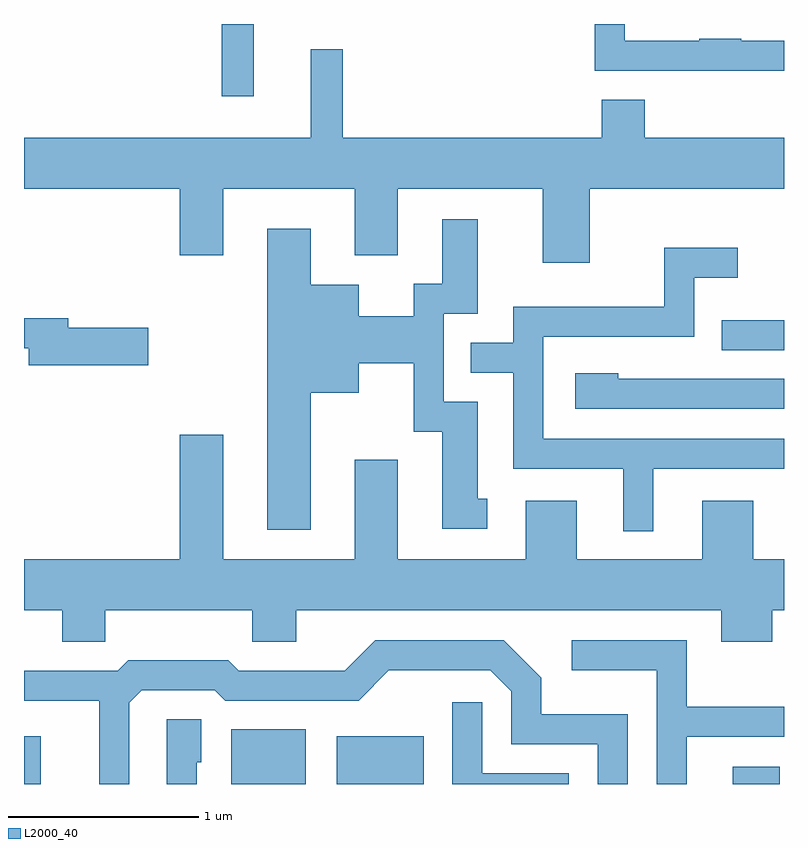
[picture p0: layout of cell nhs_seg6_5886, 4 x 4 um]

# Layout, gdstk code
import gdstk
lib = gdstk.Library(unit=1e-6, precision=1e-09)
def R(c, l, rs):  # rectangles x0, y0, x1, y1
    for r in rs: c.add(gdstk.rectangle(r[:2], r[2:], *l))
def P(c, l, *ps):  # polygons
    for p in ps: c.add(gdstk.Polygon(p, *l))
L2000_40 = (2000, 40)

nhs_seg6_5886 = lib.new_cell('nhs_seg6_5886')
R(nhs_seg6_5886, L2000_40, [(363.611,1620.162,363.699,1620.414), (364.701,1620.162,365.094,1620.449), (365.256,1620.162,365.714,1620.414), (367.341,1620.162,367.589,1620.254), (367.283,1622.446,367.611,1622.604), (364.651,1623.783,364.819,1624.162)])
P(nhs_seg6_5886, L2000_40, [(367.611,1624.074),(367.385,1624.074),(367.385,1624.084),(367.165,1624.084),(367.165,1624.074),(366.774,1624.074),(366.774,1624.162),(366.616,1624.162),(366.616,1623.916),(367.611,1623.916)],
  [(366.589,1623.296),(367.611,1623.296),(367.611,1623.564),(366.879,1623.564),(366.879,1623.764),(366.651,1623.764),(366.651,1623.564),(365.289,1623.564),(365.289,1624.028),(365.121,1624.028),(365.121,1623.564),(363.611,1623.564),(363.611,1623.296),(364.431,1623.296),(364.431,1622.946),(364.659,1622.946),(364.659,1623.296),(365.351,1623.296),(365.351,1622.946),(365.579,1622.946),(365.579,1623.296),(366.341,1623.296),(366.341,1622.906),(366.589,1622.906)],
  [(365.119,1622.221),(365.374,1622.221),(365.374,1622.376),(365.661,1622.376),(365.661,1622.016),(365.811,1622.016),(365.811,1621.506),(366.048,1621.506),(366.048,1621.664),(365.999,1621.664),(365.999,1622.174),(365.819,1622.174),(365.819,1622.636),(365.999,1622.636),(365.999,1623.134),(365.811,1623.134),(365.811,1622.794),(365.661,1622.794),(365.661,1622.624),(365.374,1622.624),(365.374,1622.789),(365.119,1622.789),(365.119,1623.084),(364.891,1623.084),(364.891,1621.501),(365.119,1621.501)],
  [(366.924,1621.821),(367.611,1621.821),(367.611,1621.979),(366.344,1621.979),(366.344,1622.516),(367.139,1622.516),(367.139,1622.826),(367.368,1622.826),(367.368,1622.984),(366.981,1622.984),(366.981,1622.674),(366.186,1622.674),(366.186,1622.484),(365.963,1622.484),(365.963,1622.326),(366.186,1622.326),(366.186,1621.821),(366.766,1621.821),(366.766,1621.493),(366.924,1621.493)],
  [(364.264,1622.564),(363.844,1622.564),(363.844,1622.614),(363.611,1622.614),(363.611,1622.456),(363.636,1622.456),(363.636,1622.366),(364.264,1622.366)],
  [(367.611,1622.294),(366.739,1622.294),(366.739,1622.324),(366.511,1622.324),(366.511,1622.136),(367.611,1622.136)],
  [(367.181,1621.344),(366.519,1621.344),(366.519,1621.654),(366.251,1621.654),(366.251,1621.344),(365.579,1621.344),(365.579,1621.869),(365.351,1621.869),(365.351,1621.344),(364.659,1621.344),(364.659,1621.999),(364.431,1621.999),(364.431,1621.344),(363.611,1621.344),(363.611,1621.076),(363.811,1621.076),(363.811,1620.911),(364.039,1620.911),(364.039,1621.076),(364.811,1621.076),(364.811,1620.911),(365.044,1620.911),(365.044,1621.076),(367.281,1621.076),(367.281,1620.911),(367.549,1620.911),(367.549,1621.076),(367.611,1621.076),(367.611,1621.344),(367.449,1621.344),(367.449,1621.654),(367.181,1621.654)],
  [(367.099,1620.411),(367.611,1620.411),(367.611,1620.569),(367.099,1620.569),(367.099,1620.919),(366.493,1620.919),(366.493,1620.761),(366.941,1620.761),(366.941,1620.162),(367.099,1620.162)],
  [(364.164,1620.589),(364.232,1620.656),(364.614,1620.656),(364.669,1620.601),(365.372,1620.601),(365.532,1620.761),(366.064,1620.761),(366.176,1620.649),(366.176,1620.371),(366.631,1620.371),(366.631,1620.162),(366.789,1620.162),(366.789,1620.529),(366.334,1620.529),(366.334,1620.722),(366.137,1620.919),(365.459,1620.919),(365.299,1620.759),(364.742,1620.759),(364.687,1620.814),(364.159,1620.814),(364.104,1620.759),(363.611,1620.759),(363.611,1620.601),(364.006,1620.601),(364.006,1620.162),(364.164,1620.162)],
  [(366.479,1620.219),(366.024,1620.219),(366.024,1620.593),(365.866,1620.593),(365.866,1620.162),(366.479,1620.162)],
  [(364.519,1620.276),(364.544,1620.276),(364.544,1620.504),(364.361,1620.504),(364.361,1620.162),(364.519,1620.162)])

lib.write_gds('nhs_seg6_5886.gds')
